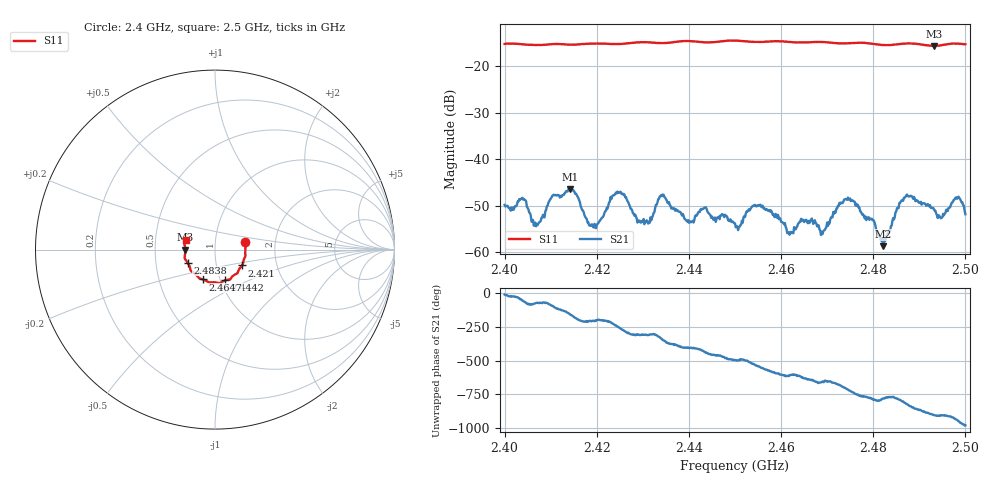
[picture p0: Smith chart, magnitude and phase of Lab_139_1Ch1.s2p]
# Hz S RI R 50
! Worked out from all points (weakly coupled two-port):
!   601 points, 2.4 GHz to 2.5 GHz, reference 50 ohm
!   highest |S21| = -46.39 dB at 2.4142 GHz (marker M1); lowest = -58.7 dB at 2.4822 GHz (marker M2)
!   lowest |S11| = -15.6 dB at 2.4932 GHz (marker M3), VSWR 1.40, Z = 35.8 - j0.0945 ohm
!   |S11| at or under -10 dB: start of sweep to end of sweep
!   S12 and S22 are empty: the file has one direction only
!   S11 on the Smith chart (normalised r, x): 2.4 GHz: 1.40, +0.12; 2.421 GHz: 1.33, -0.24; 2.4442 GHz: 1.05, -0.37; 2.4647 GHz: 0.83, -0.29; 2.4838 GHz: 0.73, -0.11; 2.5 GHz: 0.72, +0.08
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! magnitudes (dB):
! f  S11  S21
! 2.4 GHz  -15.2  -49.8
! 2.4042 GHz  -15.3  -48.5
! 2.4068 GHz  -15.4  -54.4
! 2.4142 GHz  -15.4  -46.4
! 2.4167 GHz  -15.3  -50.5
! 2.421 GHz  -15.1  -52.7
! 2.4247 GHz  -15.2  -47.2
! 2.4293 GHz  -14.9  -53.2
! 2.4333 GHz  -15.0  -48.6
! 2.4442 GHz  -14.9  -51.5
! 2.45 GHz  -14.5  -53.8
! 2.4548 GHz  -14.8  -50.0
! 2.4647 GHz  -14.9  -53.0
! 2.4667 GHz  -14.8  -52.8
! 2.4692 GHz  -14.8  -55.5
! 2.475 GHz  -15.1  -48.5
! 2.4822 GHz  -15.5  -58.7
! 2.4833 GHz  -15.5  -55.4
! 2.4838 GHz  -15.5  -54.4
! 2.4872 GHz  -15.1  -47.8
! 2.4932 GHz  -15.6  -50.8
! 2.5 GHz  -15.3  -51.8
